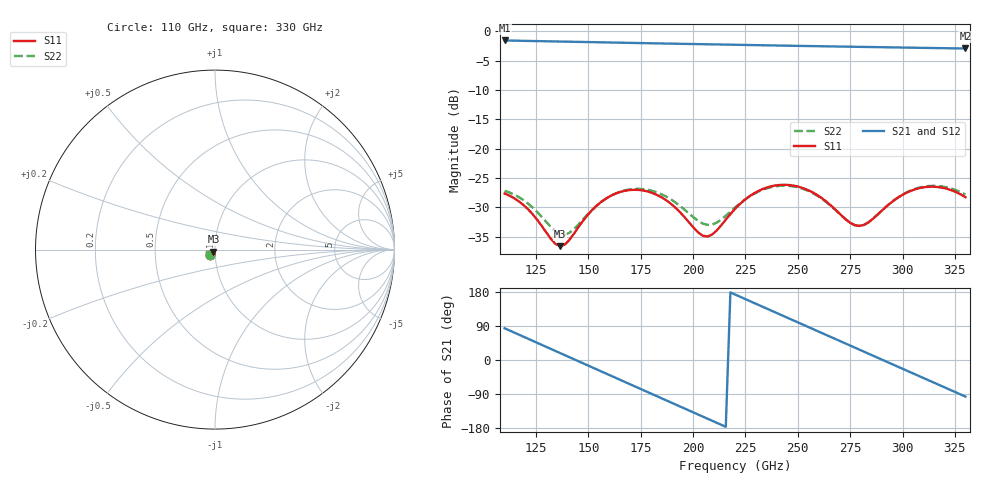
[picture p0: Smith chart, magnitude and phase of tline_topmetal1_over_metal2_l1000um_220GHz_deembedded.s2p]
! Created with skrf 2.2.0 (http://scikit-rf.org).
# GHz S DB R 50.0
! Port[1] = P1
! Port[2] = P2
!freq dBS11 angS11 dBS21 angS21 dBS12 angS12 dBS22 angS22
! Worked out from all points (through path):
!   101 points, 110 GHz to 330 GHz, reference 50 ohm
!   highest |S21| = -1.57 dB at 110 GHz (marker M1); lowest = -2.9 dB at 330 GHz (marker M2)
!   group delay of S21, straight-line fit = 6.82 ps
!   lowest |S11| = -36.6 dB at 136.4 GHz (marker M3), VSWR 1.03, Z = 49.1 - j1.18 ohm
!   |S11| at or under -10 dB: start of sweep to end of sweep
!   |S22| runs from -34.6 to -26.3 dB; largest |S21 - S12| = 8.8e-14
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110  -27.64 -134.4  -1.57 83.8  -1.57 83.8  -27.17 -133.0
123.2  -31.08 -152.4  -1.67 51.2  -1.67 51.2  -29.96 -149.9
136.4  -36.59 -126.1  -1.76 18.6  -1.76 18.6  -34.52 -133.7
140.8  -35.58 -106.3  -1.79 7.7  -1.79 7.7  -34.35 -118.2
147.4  -32.29 -95.5  -1.83 -8.6  -1.83 -8.6  -32.06 -104.9
156.2  -29.04 -101.3  -1.89 -30.3  -1.89 -30.3  -29.05 -106.4
167.2  -27.18 -117.9  -1.97 -57.4  -1.97 -57.4  -27.11 -119.9
176  -27.11 -132.4  -2.03 -79.0  -2.03 -79.0  -26.87 -132.7
184.8  -28.25 -145.4  -2.08 -100.7  -2.08 -100.7  -27.73 -144.2
195.8  -31.61 -152.1  -2.16 -127.7  -2.16 -127.7  -30.35 -150.4
206.8  -34.96 -124.9  -2.22 -154.7  -2.22 -154.7  -32.97 -132.8
220  -30.26 -99.7  -2.31 172.9  -2.31 172.9  -30.02 -110.2
228.8  -27.66 -106.8  -2.36 151.3  -2.36 151.3  -27.73 -114.3
239.8  -26.23 -122.2  -2.43 124.3  -2.43 124.3  -26.38 -127.3
248.6  -26.33 -135.3  -2.49 102.7  -2.49 102.7  -26.47 -139.2
257.4  -27.50 -146.5  -2.54 81.2  -2.54 81.2  -27.61 -149.4
268.4  -30.53 -150.9  -2.60 54.3  -2.60 54.3  -30.59 -152.9
279.4  -33.16 -128.7  -2.66 27.3  -2.66 27.3  -33.13 -130.3
294.8  -29.10 -107.4  -2.75 -10.4  -2.75 -10.4  -29.07 -108.3
303.6  -27.22 -114.2  -2.80 -31.9  -2.80 -31.9  -27.16 -114.4
314.6  -26.47 -127.5  -2.86 -58.8  -2.86 -58.8  -26.32 -126.9
330  -28.25 -143.0  -2.94 -96.5  -2.94 -96.5  -27.79 -141.2
